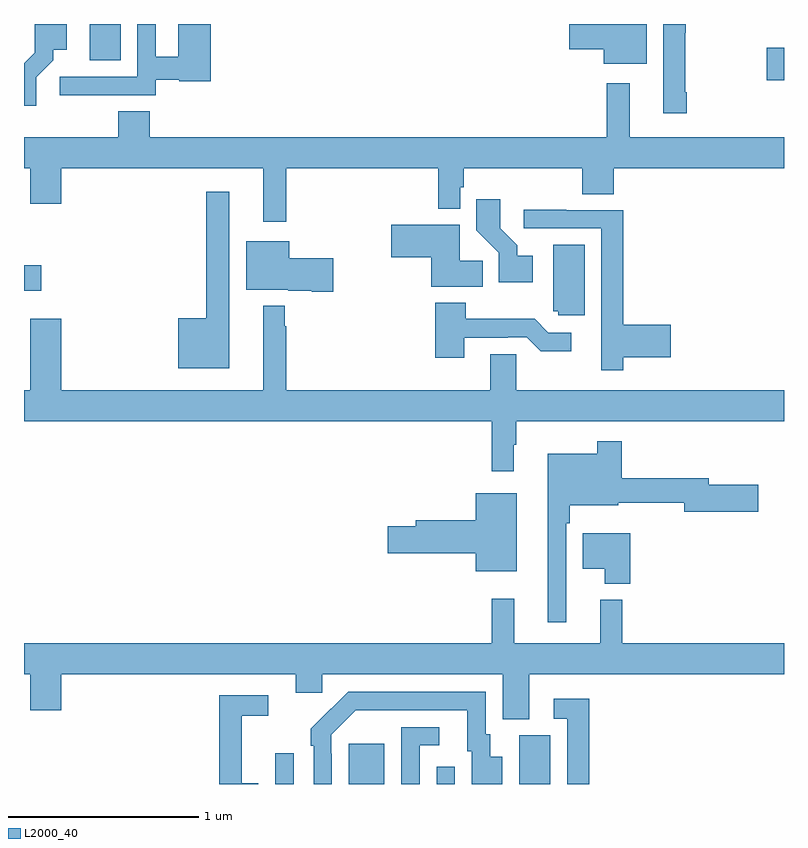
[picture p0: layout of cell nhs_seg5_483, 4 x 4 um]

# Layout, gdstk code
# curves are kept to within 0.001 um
import gdstk
lib = gdstk.Library(unit=1e-6, precision=1e-09)
def R(c, l, rs):  # rectangles x0, y0, x1, y1
    for r in rs: c.add(gdstk.rectangle(r[:2], r[2:], *l))
def P(c, l, *ps):  # polygons
    for p in ps: c.add(gdstk.Polygon(p, *l))
L2000_40 = (2000, 40)

nhs_seg5_483 = lib.new_cell('nhs_seg5_483')
R(nhs_seg5_483, L2000_40, [(142.323,906.799,142.419,906.961), (142.709,906.799,142.897,907.012), (143.172,906.799,143.268,906.889), (143.606,906.799,143.77,907.056), (141,909.395,141.091,909.53), (144.909,910.502,145,910.673), (141.347,910.608,141.508,910.799)])
P(nhs_seg5_483, L2000_40, [(141.413,910.425),(141.693,910.425),(141.693,910.506),(141.816,910.506),(141.816,910.498),(141.983,910.498),(141.983,910.799),(141.812,910.799),(141.812,910.627),(141.693,910.627),(141.693,910.799),(141.597,910.799),(141.597,910.521),(141.189,910.521),(141.189,910.423),(141.413,910.423)],
  [(141.064,910.519),(141.154,910.609),(141.154,910.664),(141.226,910.664),(141.226,910.799),(141.057,910.799),(141.057,910.649),(141,910.592),(141,910.368),(141.064,910.368)],
  [(144.277,910.799),(143.871,910.799),(143.871,910.666),(144.05,910.666),(144.05,910.589),(144.277,910.589)],
  [(144.487,910.441),(144.479,910.441),(144.479,910.753),(144.484,910.753),(144.484,910.799),(144.365,910.799),(144.365,910.329),(144.487,910.329)],
  [(142.381,910.04),(143.179,910.04),(143.179,909.827),(143.295,909.827),(143.295,909.939),(143.315,909.939),(143.315,910.04),(143.939,910.04),(143.939,909.904),(144.104,909.904),(144.104,910.04),(145,910.04),(145,910.204),(144.187,910.204),(144.187,910.486),(144.066,910.486),(144.066,910.204),(141.662,910.204),(141.662,910.34),(141.497,910.34),(141.497,910.204),(141,910.204),(141,910.04),(141.032,910.04),(141.032,909.852),(141.196,909.852),(141.196,910.04),(142.259,910.04),(142.259,909.759),(142.381,909.759)],
  [(142.081,909.916),(141.96,909.916),(141.96,909.25),(141.812,909.25),(141.812,908.987),(142.081,908.987)],
  [(143.677,909.58),(143.596,909.58),(143.596,909.635),(143.506,909.725),(143.506,909.877),(143.38,909.877),(143.38,909.714),(143.499,909.595),(143.499,909.44),(143.677,909.44)],
  [(144.155,909.044),(144.403,909.044),(144.403,909.215),(144.155,909.215),(144.155,909.819),(143.855,909.819),(143.855,909.822),(143.631,909.822),(143.631,909.723),(144.039,909.723),(144.039,909.198),(144.038,909.198),(144.038,908.976),(144.155,908.976)],
  [(143.414,909.554),(143.293,909.554),(143.293,909.742),(142.932,909.742),(142.932,909.572),(143.144,909.572),(143.144,909.416),(143.414,909.416)],
  [(142.627,909.567),(142.396,909.567),(142.396,909.655),(142.169,909.655),(142.169,909.401),(142.392,909.401),(142.392,909.395),(142.514,909.395),(142.514,909.389),(142.627,909.389)],
  [(143.95,909.637),(143.786,909.637),(143.786,909.288),(143.811,909.288),(143.811,909.267),(143.95,909.267)],
  [(143.317,909.147),(143.546,909.147),(143.546,909.15),(143.646,909.15),(143.719,909.077),(143.881,909.077),(143.881,909.174),(143.76,909.174),(143.687,909.247),(143.325,909.247),(143.325,909.331),(143.165,909.331),(143.165,909.042),(143.317,909.042)],
  [(143.578,908.585),(143.59,908.585),(143.59,908.708),(145,908.708),(145,908.872),(143.592,908.872),(143.592,909.062),(143.453,909.062),(143.453,908.872),(142.381,908.872),(142.381,909.209),(142.373,909.209),(142.373,909.316),(142.259,909.316),(142.259,908.872),(141.196,908.872),(141.196,909.247),(141.032,909.247),(141.032,908.872),(141,908.872),(141,908.708),(143.461,908.708),(143.461,908.445),(143.578,908.445)],
  [(143.853,908.171),(143.873,908.171),(143.873,908.267),(144.127,908.267),(144.127,908.278),(144.476,908.278),(144.476,908.231),(144.865,908.231),(144.865,908.373),(144.604,908.373),(144.604,908.407),(144.146,908.407),(144.146,908.602),(144.018,908.602),(144.018,908.536),(143.756,908.536),(143.756,907.65),(143.853,907.65)],
  [(143.593,908.329),(143.378,908.329),(143.378,908.186),(143.063,908.186),(143.063,908.156),(142.914,908.156),(142.914,908.014),(143.378,908.014),(143.378,907.919),(143.593,907.919)],
  [(144.191,908.119),(143.942,908.119),(143.942,907.931),(144.056,907.931),(144.056,907.853),(144.191,907.853)],
  [(141,907.376),(141.032,907.376),(141.032,907.188),(141.196,907.188),(141.196,907.376),(142.43,907.376),(142.43,907.278),(142.569,907.278),(142.569,907.376),(143.519,907.376),(143.519,907.141),(143.659,907.141),(143.659,907.376),(145,907.376),(145,907.54),(144.149,907.54),(144.149,907.768),(144.032,907.768),(144.032,907.54),(143.579,907.54),(143.579,907.774),(143.461,907.774),(143.461,907.54),(141,907.54)],
  [(142.62,906.959),(142.617,906.959),(142.617,907.059),(142.746,907.188),(143.333,907.188),(143.333,906.972),(143.357,906.972),(143.357,906.799),(143.518,906.799),(143.518,906.943),(143.455,906.943),(143.455,907.062),(143.43,907.062),(143.43,907.284),(142.706,907.284),(142.509,907.089),(142.509,907.001),(142.524,907.001),(142.524,906.799),(142.62,906.799)],
  [(142.234,906.802),(142.145,906.802),(142.145,907.158),(142.285,907.158),(142.285,907.266),(142.027,907.266),(142.027,906.799),(142.234,906.799)],
  [(143.975,907.249),(143.787,907.249),(143.787,907.143),(143.859,907.143),(143.859,906.799),(143.975,906.799)],
  [(143.082,907.002),(143.185,907.002),(143.185,907.098),(142.986,907.098),(142.986,906.799),(143.082,906.799)])

lib.write_gds('nhs_seg5_483.gds')
